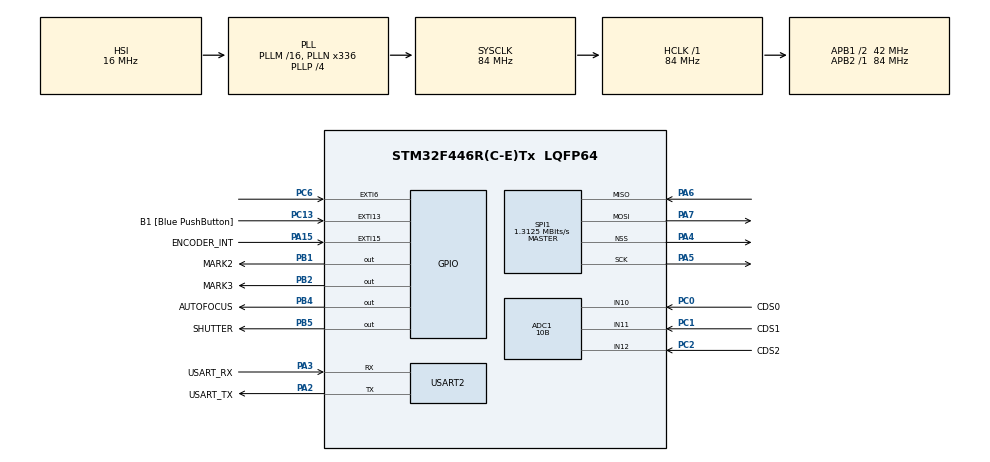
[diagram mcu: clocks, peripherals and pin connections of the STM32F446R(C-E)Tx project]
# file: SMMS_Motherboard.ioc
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ADC1.Channel-0\#ChannelRegularConversion=ADC_CHANNEL_10
ADC1.Channel-1\#ChannelRegularConversion=ADC_CHANNEL_11
ADC1.Channel-2\#ChannelRegularConversion=ADC_CHANNEL_12
ADC1.ContinuousConvMode=DISABLE
ADC1.EnableAnalogWatchDog=false
ADC1.NbrOfConversion=3
ADC1.NbrOfConversionFlag=1
ADC1.Rank-0\#ChannelRegularConversion=1
ADC1.Rank-1\#ChannelRegularConversion=2
ADC1.Rank-2\#ChannelRegularConversion=3
ADC1.Resolution=ADC_RESOLUTION_10B
ADC1.SamplingTime-0\#ChannelRegularConversion=ADC_SAMPLETIME_3CYCLES
ADC1.SamplingTime-1\#ChannelRegularConversion=ADC_SAMPLETIME_3CYCLES
ADC1.SamplingTime-2\#ChannelRegularConversion=ADC_SAMPLETIME_3CYCLES
ADC1.master=1
Dma.ADC1.0.Direction=DMA_PERIPH_TO_MEMORY
Dma.ADC1.0.FIFOMode=DMA_FIFOMODE_DISABLE
Dma.ADC1.0.Instance=DMA2_Stream0
Dma.ADC1.0.MemDataAlignment=DMA_MDATAALIGN_WORD
Dma.ADC1.0.MemInc=DMA_MINC_ENABLE
Dma.ADC1.0.Mode=DMA_CIRCULAR
Dma.ADC1.0.PeriphDataAlignment=DMA_PDATAALIGN_WORD
Dma.ADC1.0.PeriphInc=DMA_PINC_DISABLE
Dma.ADC1.0.Priority=DMA_PRIORITY_LOW
Dma.Request0=ADC1
Dma.Request1=SPI1_RX
Dma.Request2=SPI1_TX
Dma.SPI1_RX.1.Direction=DMA_PERIPH_TO_MEMORY
Dma.SPI1_RX.1.FIFOMode=DMA_FIFOMODE_DISABLE
Dma.SPI1_RX.1.Instance=DMA2_Stream2
Dma.SPI1_RX.1.MemDataAlignment=DMA_MDATAALIGN_BYTE
Dma.SPI1_RX.1.MemInc=DMA_MINC_ENABLE
Dma.SPI1_RX.1.Mode=DMA_NORMAL
Dma.SPI1_RX.1.PeriphDataAlignment=DMA_PDATAALIGN_BYTE
Dma.SPI1_RX.1.PeriphInc=DMA_PINC_DISABLE
Dma.SPI1_RX.1.Priority=DMA_PRIORITY_LOW
Dma.SPI1_TX.2.Direction=DMA_MEMORY_TO_PERIPH
Dma.SPI1_TX.2.FIFOMode=DMA_FIFOMODE_DISABLE
Dma.SPI1_TX.2.Instance=DMA2_Stream3
Dma.SPI1_TX.2.MemDataAlignment=DMA_MDATAALIGN_BYTE
Dma.SPI1_TX.2.MemInc=DMA_MINC_ENABLE
Dma.SPI1_TX.2.Mode=DMA_NORMAL
Dma.SPI1_TX.2.PeriphDataAlignment=DMA_PDATAALIGN_BYTE
Dma.SPI1_TX.2.PeriphInc=DMA_PINC_DISABLE
Dma.SPI1_TX.2.Priority=DMA_PRIORITY_LOW
Mcu.Family=STM32F4
Mcu.Name=STM32F446R(C-E)Tx
Mcu.Package=LQFP64
NVIC.ADC_IRQn=true\:0\:0\:false\:false\:true\:true\:true
NVIC.DMA2_Stream0_IRQn=true\:0\:0\:false\:false\:true\:false\:true
NVIC.DMA2_Stream2_IRQn=true\:0\:0\:false\:false\:true\:false\:true
NVIC.DMA2_Stream3_IRQn=true\:0\:0\:false\:false\:true\:false\:true
NVIC.EXTI15_10_IRQn=true\:0\:0\:false\:true\:true\:2\:true\:true
NVIC.EXTI9_5_IRQn=true\:0\:0\:false\:false\:true\:true\:true
NVIC.PriorityGroup=NVIC_PRIORITYGROUP_0
NVIC.SPI1_IRQn=true\:0\:0\:false\:false\:true\:true\:true
NVIC.USART2_IRQn=true\:0\:0\:false\:true\:true\:1\:true\:true
PA13.GPIO_Label=TMS
PA13.Mode=Trace_Asynchronous_SW
PA13.Signal=SYS_JTMS-SWDIO
PA14.GPIO_Label=TCK
PA14.Mode=Trace_Asynchronous_SW
PA14.Signal=SYS_JTCK-SWCLK
PA15.GPIO_Label=ENCODER_INT
PA15.GPIO_ModeDefaultEXTI=GPIO_MODE_IT_RISING
PA15.GPIO_PuPd=GPIO_NOPULL
PA15.Signal=GPXTI15
PA2.GPIO_Label=USART_TX
PA2.Mode=Asynchronous
PA2.Signal=USART2_TX
PA3.GPIO_Label=USART_RX
PA3.Mode=Asynchronous
PA3.Signal=USART2_RX
PA4.Mode=NSS_Signal_Hard_Output
PA4.Signal=SPI1_NSS
PA5.Mode=Full_Duplex_Master
PA5.Signal=SPI1_SCK
PA6.Mode=Full_Duplex_Master
PA6.Signal=SPI1_MISO
PA7.Mode=Full_Duplex_Master
PA7.Signal=SPI1_MOSI
PB1.GPIO_Label=MARK2
PB1.GPIO_Speed=GPIO_SPEED_FREQ_VERY_HIGH
PB1.PinState=GPIO_PIN_RESET
PB1.Signal=GPIO_Output
PB2.GPIO_Label=MARK3
PB2.GPIO_Speed=GPIO_SPEED_FREQ_VERY_HIGH
PB2.Signal=GPIO_Output
PB3.GPIO_Label=SWO
PB3.Mode=Trace_Asynchronous_SW
PB3.Signal=SYS_JTDO-SWO
PB4.GPIO_Label=AUTOFOCUS
PB4.Signal=GPIO_Output
PB5.GPIO_Label=SHUTTER
PB5.Signal=GPIO_Output
PC0.GPIO_Label=CDS0
PC0.Signal=ADCx_IN10
PC1.GPIO_Label=CDS1
PC1.Signal=ADCx_IN11
PC13.GPIO_Label=B1 [Blue PushButton]
PC13.GPIO_ModeDefaultEXTI=GPIO_MODE_IT_FALLING
PC13.Signal=GPXTI13
PC14-OSC32_IN.Mode=LSE-External-Oscillator
PC14-OSC32_IN.Signal=RCC_OSC32_IN
PC15-OSC32_OUT.Mode=LSE-External-Oscillator
PC15-OSC32_OUT.Signal=RCC_OSC32_OUT
PC2.GPIO_Label=CDS2
PC2.Signal=ADCx_IN12
PC6.GPIO_ModeDefaultEXTI=GPIO_MODE_IT_FALLING
PC6.GPIO_PuPd=GPIO_PULLUP
PC6.Signal=GPXTI6
PH0-OSC_IN.Mode=HSE-External-Oscillator
PH0-OSC_IN.Signal=RCC_OSC_IN
PH1-OSC_OUT.Mode=HSE-External-Oscillator
PH1-OSC_OUT.Signal=RCC_OSC_OUT
ProjectManager.HeapSize=0x200
ProjectManager.StackSize=0x400
ProjectManager.TargetToolchain=STM32CubeIDE
RCC.48MHZClocksFreq_Value=84000000
RCC.AHBFreq_Value=84000000
RCC.APB1CLKDivider=RCC_HCLK_DIV2
RCC.APB1Freq_Value=42000000
RCC.APB1TimFreq_Value=84000000
RCC.APB2Freq_Value=84000000
RCC.APB2TimFreq_Value=84000000
RCC.CortexFreq_Value=84000000
RCC.FLatency-AdvancedSettings=FLASH_LATENCY_2
RCC.HCLKFreq_Value=84000000
RCC.HSE_VALUE=8000000
RCC.HSI_VALUE=16000000
RCC.PLLN=336
RCC.PLLP=RCC_PLLP_DIV4
RCC.SYSCLKFreq_VALUE=84000000
RCC.SYSCLKSource=RCC_SYSCLKSOURCE_PLLCLK
RCC.USBFreq_Value=168000000
RCC.VCOOutputFreq_Value=336000000
SH.ADCx_IN10.0=ADC1_IN10,IN10
SH.ADCx_IN11.0=ADC1_IN11,IN11
SH.ADCx_IN12.0=ADC1_IN12,IN12
SPI1.BaudRatePrescaler=SPI_BAUDRATEPRESCALER_64
SPI1.CalculateBaudRate=1.3125 MBits/s
SPI1.Direction=SPI_DIRECTION_2LINES
SPI1.Mode=SPI_MODE_MASTER
SPI1.VirtualNSS=VM_NSSHARD
SPI1.VirtualType=VM_MASTER
USART2.VirtualMode=VM_ASYNC
VP_TIM1_VS_ClockSourceINT.Mode=Internal
board=NUCLEO-F446RE

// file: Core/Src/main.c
/* USER CODE BEGIN Header */
/**
 ******************************************************************************
 * @file           : main.c
 * @brief          : Main program body
 ******************************************************************************
 * @attention
 *
 * <h2><center>&copy; Copyright (c) 2020 STMicroelectronics.
 * All rights reserved.</center></h2>
 *
 * This software component is licensed by ST under BSD 3-Clause license,
 * the "License"; You may not use this file except in compliance with the
 * License. You may obtain a copy of the License at:
 *                        opensource.org/licenses/BSD-3-Clause
 *
 ******************************************************************************
 */
/* USER CODE END Header */
#include "main.h"

/* USER CODE BEGIN Includes */
#include <stdio.h>
#include <stdbool.h>
#include <string.h>
#include <stdlib.h>
/* USER CODE END Includes */

/* USER CODE BEGIN PTD */
typedef struct _paramType {
	float wheelRadius; // 1
	uint32_t encoderPulseCount; // 2
	float targetDistance; // 3
} __attribute__((aligned(1), packed)) WheelParam;
/* USER CODE END PTD */

/* USER CODE BEGIN PD */
#define TARGET_PULSE_NUMBER           1

#define DIVISOR                       1
/* USER CODE END PD */

ADC_HandleTypeDef hadc1;
DMA_HandleTypeDef hdma_adc1;

SPI_HandleTypeDef hspi1;
DMA_HandleTypeDef hdma_spi1_rx;
DMA_HandleTypeDef hdma_spi1_tx;

TIM_HandleTypeDef htim1;

UART_HandleTypeDef huart2;

/* USER CODE BEGIN PV */
#define MAX_BUFLEN 1024 // used
char buf[MAX_BUFLEN]; // used
int bufHead = 0, bufTail = 0; // used
uint8_t tmpbuf; // UART interrupt buf used

char mainBuf[20] = { 0 }; // data input buf used
char getdata; // get char used

uint8_t cameraflag = 0; // Camera used
uint8_t uartflag = 0; // Uart Action(Camera ADC) used
uint8_t confflag = 0; // Configuration Mode used

WheelParam wP;
int encoderTargetCount = -1;
int adcValue[3]; // ADC DATA SAVE
HAL_StatusTypeDef result;
/* USER CODE END PV */

void SystemClock_Config(void);
static void MX_GPIO_Init(void);
static void MX_DMA_Init(void);
static void MX_USART2_UART_Init(void);
static void MX_ADC1_Init(void);
static void MX_SPI1_Init(void);
static void MX_TIM1_Init(void);
static void MX_NVIC_Init(void);

/* USER CODE BEGIN 0 */

float diameter(float radius) {
	return (2 * 3.1415 * radius);
}

float rotationForShoot(float targetDistance, float wheelDiameter) {
	return (targetDistance / wheelDiameter);
}

int targetPulseCount(float rotationCount, int encoderPulseCnt) {
	return (int) ((((rotationCount * encoderPulseCnt) / TARGET_PULSE_NUMBER)
			/ DIVISOR));
}

void HAL_UART_RxCpltCallback(UART_HandleTypeDef *huart) {
	if (huart->Instance == huart2.Instance) {
		HAL_UART_Receive_IT(&huart2, &tmpbuf, 1);
		buf[bufTail] = huart->pRxBuffPtr[0];
		bufTail++;
		bufTail %= MAX_BUFLEN;
	}
} // END OF UART2
int _write(int file, unsigned char *p, int len) {
	HAL_UART_Transmit(&huart2, p, len, 100);
	return len;
}
/*
 int __io_putchar(int ch) {
 uint8_t *tr = (uint8_t*) &ch;
 HAL_UART_Transmit(&huart2, &tr[0], 1, -1);
 return ch;
 }
 */
int __io_getchar() {
	register int ret;

	__retry: if (bufHead != bufTail) {
		ret = buf[bufHead];
		if (ret == '\r' || ret == '\n') {
			ret = '\n';
		}
		bufHead++;
		bufHead %= MAX_BUFLEN;
	} else {
		goto __retry;
		//return -1;
	}
	return ret;
}

void HAL_GPIO_EXTI_Callback(uint16_t GPIO_Pin) // GPIO INTERRUPT
{
	if (GPIO_Pin == GPIO_PIN_6) //
	{
		HAL_GPIO_WritePin(MARK2_GPIO_Port, MARK2_Pin, SET);
	} else if (GPIO_Pin == ENCODER_INT_Pin) // ENCODER INTERRUPT
	{
		HAL_ADC_Start_DMA(&hadc1, adcValue, 3);
		for (int i = 0; i < 3; i++) { // ADC data save
			HAL_DMA_PollForTransfer(&hdma_adc1, HAL_DMA_FULL_TRANSFER, 100); // ADC DATA GET 3
		}
		HAL_ADC_Stop_DMA(&hadc1);
		printf("light value : ADC = %04d   %04d   %04d\r\n", adcValue[0],
				adcValue[1], adcValue[2]);
	}
}
/* USER CODE END 0 */

int main(void) {

	/* MCU Configuration--------------------------------------------------------*/

	/* Reset of all peripherals, Initializes the Flash interface and the Systick. */
	HAL_Init();

	/* Configure the system clock */
	SystemClock_Config();

	/* Initialize all configured peripherals */
	MX_GPIO_Init();
	MX_DMA_Init();
	MX_USART2_UART_Init();
	MX_ADC1_Init();
	MX_SPI1_Init();
	MX_TIM1_Init();

	/* Initialize interrupts */
	MX_NVIC_Init();
	/* USER CODE BEGIN 2 */
	HAL_UART_Receive_IT(&huart2, &tmpbuf, 1);
	printf(
			"Hello Commander! Activate Camera : s   Car Configuration : c\r\n\r\n");
	encoderTargetCount = targetPulseCount(
			rotationForShoot(wP.targetDistance, diameter(wP.wheelRadius)),
			wP.encoderPulseCount);

	/* USER CODE END 2 */

	/* Infinite loop */
	while (1) {

		/* USER CODE BEGIN 3 */
		HAL_UART_Receive_IT(&huart2, &tmpbuf, 1);
		getdata = getchar();

		if ((getdata == 's' || getdata == 'S') && confflag == 0) { // UART INPUT 'S'
			printf("Camera activated\r\n");
			HAL_GPIO_WritePin(AUTOFOCUS_GPIO_Port, AUTOFOCUS_Pin, SET);
			HAL_GPIO_WritePin(SHUTTER_GPIO_Port, SHUTTER_Pin, SET);
			HAL_GPIO_WritePin(MARK2_GPIO_Port, MARK2_Pin, RESET);
			cameraflag = 1;
			uartflag = 1;
			if (cameraflag == 1) { // Camera Action
				HAL_Delay(10);
				HAL_GPIO_WritePin(AUTOFOCUS_GPIO_Port, AUTOFOCUS_Pin, RESET);
				HAL_GPIO_WritePin(SHUTTER_GPIO_Port, SHUTTER_Pin, RESET);
				cameraflag = 0;
			}
			if (uartflag == 1) {
				HAL_ADC_Start_DMA(&hadc1, adcValue, 3);
				for (int i = 0; i < 3; i++) { // ADC data save
					HAL_DMA_PollForTransfer(&hdma_adc1, HAL_DMA_FULL_TRANSFER,
							100); // ADC DATA GET 3
				}
				HAL_ADC_Stop_DMA(&hadc1);
				printf("light value : ADC = %04d   %04d   %04d\r\n",
						adcValue[0], adcValue[1], adcValue[2]);
				uartflag = 0;
			}
		}
		if ((getdata == 'c' || getdata == 'C') && confflag == 0) {
			printf("Car configuration activated. Plz input data\r\n");
			printf(
					"R.Radius\r\nE.Encoder pulse count\r\nT.Target Distance\r\nF.Forwarding Data\r\nV.View\r\nx.EXIT\r\n");
			confflag = 1;
		}
		// Command Mode Index
		if (confflag == 1) {
			switch (getdata) { // UART INPUT 'C' // Configuration Mode
			case 'r': // Car radius
			case 'R':
				printf("\r\nRadius data input\r\n");
				gets(mainBuf); // Read Data
				printf("Input Data : %s / ArrSize : %d\r\n", mainBuf,
						sizeof(wP)); // Print Data
				wP.wheelRadius = atof(mainBuf);
				encoderTargetCount = targetPulseCount(
						rotationForShoot(wP.targetDistance,
								diameter(wP.wheelRadius)),
						wP.encoderPulseCount);
				break;
			case 'e': // Encoder pluse
			case 'E':
				printf("\r\nEncoder pulse count input\r\n");
				gets(mainBuf); // Read Data
				printf("Input Data : %s / ArrSize : %d\r\n", mainBuf,
						sizeof(wP)); // Print Data
				wP.encoderPulseCount = atoi(mainBuf);
				if (wP.encoderPulseCount == 0) {
					break;
				}
				encoderTargetCount = targetPulseCount(
						rotationForShoot(wP.targetDistance,
								diameter(wP.wheelRadius)),
						wP.encoderPulseCount);
				break;
			case 't': // Target distance
			case 'T':
				printf("\r\nTarget Distance input\r\n");
				gets(mainBuf); // Read Data
				printf("Input Data : %s / ArrSize : %d\r\n", mainBuf,
						sizeof(wP)); // Print Data
				wP.targetDistance = atof(mainBuf);
				encoderTargetCount = targetPulseCount(
						rotationForShoot(wP.targetDistance,
								diameter(wP.wheelRadius)),
						wP.encoderPulseCount);
				break;
			case 'f': // Data Save
			case 'F':
				printf("\r\nForwarding data\r\n");
				HAL_SPI_Transmit(&hspi1, (uint8_t*) &wP, sizeof(wP), -1);
				printf("Activate Camera : s   Car Configuration : c\r\n\r\n");
				confflag = 0;
				break;
			case 'v': // Data View
			case 'V':
				printf(
						"\r\nEncoderPulseCnt = %lu\r\nWheel Radius = %0.5f\r\nTrigger Distance = %0.2f\r\nTarget pulse count = %d\r\n",
						wP.encoderPulseCount, wP.wheelRadius, wP.targetDistance,
						encoderTargetCount);
				break;
			case 'x': // EXIT
			case 'X':
				printf("\r\nINPUT MODE CLOSE\r\n");
				printf("Activate Camera : s   Car Configuration : c\r\n\r\n");
				confflag = 0;
				break;
			} // End of Switch Case
		} // End of If
	} // End of While
	/* USER CODE END 3 */
}

void SystemClock_Config(void) {
	RCC_OscInitTypeDef RCC_OscInitStruct = { 0 };
	RCC_ClkInitTypeDef RCC_ClkInitStruct = { 0 };

	/** Configure the main internal regulator output voltage
	 */
	__HAL_RCC_PWR_CLK_ENABLE();
	__HAL_PWR_VOLTAGESCALING_CONFIG(PWR_REGULATOR_VOLTAGE_SCALE3);
	/** Initializes the RCC Oscillators according to the specified parameters
	 * in the RCC_OscInitTypeDef structure.
	 */
	RCC_OscInitStruct.OscillatorType = RCC_OSCILLATORTYPE_HSI;
	RCC_OscInitStruct.HSIState = RCC_HSI_ON;
	RCC_OscInitStruct.HSICalibrationValue = RCC_HSICALIBRATION_DEFAULT;
	RCC_OscInitStruct.PLL.PLLState = RCC_PLL_ON;
	RCC_OscInitStruct.PLL.PLLSource = RCC_PLLSOURCE_HSI;
	RCC_OscInitStruct.PLL.PLLM = 16;
	RCC_OscInitStruct.PLL.PLLN = 336;
	RCC_OscInitStruct.PLL.PLLP = RCC_PLLP_DIV4;
	RCC_OscInitStruct.PLL.PLLQ = 2;
	RCC_OscInitStruct.PLL.PLLR = 2;
	if (HAL_RCC_OscConfig(&RCC_OscInitStruct) != HAL_OK) {
		Error_Handler();
	}
	/** Initializes the CPU, AHB and APB buses clocks
	 */
	RCC_ClkInitStruct.ClockType = RCC_CLOCKTYPE_HCLK | RCC_CLOCKTYPE_SYSCLK
			| RCC_CLOCKTYPE_PCLK1 | RCC_CLOCKTYPE_PCLK2;
	RCC_ClkInitStruct.SYSCLKSource = RCC_SYSCLKSOURCE_PLLCLK;
	RCC_ClkInitStruct.AHBCLKDivider = RCC_SYSCLK_DIV1;
	RCC_ClkInitStruct.APB1CLKDivider = RCC_HCLK_DIV2;
	RCC_ClkInitStruct.APB2CLKDivider = RCC_HCLK_DIV1;

	if (HAL_RCC_ClockConfig(&RCC_ClkInitStruct, FLASH_LATENCY_2) != HAL_OK) {
		Error_Handler();
	}
}

/**
 * @brief NVIC Configuration.
 * @retval None
 */
static void MX_NVIC_Init(void) {
	/* USART2_IRQn interrupt configuration */
	HAL_NVIC_SetPriority(USART2_IRQn, 0, 0);
	HAL_NVIC_EnableIRQ(USART2_IRQn);
	/* EXTI15_10_IRQn interrupt configuration */
	HAL_NVIC_SetPriority(EXTI15_10_IRQn, 0, 0);
	HAL_NVIC_EnableIRQ(EXTI15_10_IRQn);
}

static void MX_ADC1_Init(void) {

	ADC_ChannelConfTypeDef sConfig = { 0 };

	/** Configure the global features of the ADC (Clock, Resolution, Data Alignment and number of conversion)
	 */
	hadc1.Instance = ADC1;
	hadc1.Init.ClockPrescaler = ADC_CLOCK_SYNC_PCLK_DIV4;
	hadc1.Init.Resolution = ADC_RESOLUTION_10B;
	hadc1.Init.ScanConvMode = ENABLE;
	hadc1.Init.ContinuousConvMode = DISABLE;
	hadc1.Init.DiscontinuousConvMode = DISABLE;
	hadc1.Init.ExternalTrigConvEdge = ADC_EXTERNALTRIGCONVEDGE_NONE;
	hadc1.Init.ExternalTrigConv = ADC_SOFTWARE_START;
	hadc1.Init.DataAlign = ADC_DATAALIGN_RIGHT;
	hadc1.Init.NbrOfConversion = 3;
	hadc1.Init.DMAContinuousRequests = DISABLE;
	hadc1.Init.EOCSelection = ADC_EOC_SINGLE_CONV;
	if (HAL_ADC_Init(&hadc1) != HAL_OK) {
		Error_Handler();
	}
	/** Configure for the selected ADC regular channel its corresponding rank in the sequencer and its sample time.
	 */
	sConfig.Channel = ADC_CHANNEL_10;
	sConfig.Rank = 1;
	sConfig.SamplingTime = ADC_SAMPLETIME_3CYCLES;
	if (HAL_ADC_ConfigChannel(&hadc1, &sConfig) != HAL_OK) {
		Error_Handler();
	}
	/** Configure for the selected ADC regular channel its corresponding rank in the sequencer and its sample time.
	 */
	sConfig.Channel = ADC_CHANNEL_11;
	sConfig.Rank = 2;
	if (HAL_ADC_ConfigChannel(&hadc1, &sConfig) != HAL_OK) {
		Error_Handler();
	}
	/** Configure for the selected ADC regular channel its corresponding rank in the sequencer and its sample time.
	 */
	sConfig.Channel = ADC_CHANNEL_12;
	sConfig.Rank = 3;
	if (HAL_ADC_ConfigChannel(&hadc1, &sConfig) != HAL_OK) {
		Error_Handler();
	}

}

static void MX_SPI1_Init(void) {

	/* SPI1 parameter configuration*/
	hspi1.Instance = SPI1;
	hspi1.Init.Mode = SPI_MODE_MASTER;
	hspi1.Init.Direction = SPI_DIRECTION_2LINES;
	hspi1.Init.DataSize = SPI_DATASIZE_8BIT;
	hspi1.Init.CLKPolarity = SPI_POLARITY_LOW;
	hspi1.Init.CLKPhase = SPI_PHASE_1EDGE;
	hspi1.Init.NSS = SPI_NSS_HARD_OUTPUT;
	hspi1.Init.BaudRatePrescaler = SPI_BAUDRATEPRESCALER_64;
	hspi1.Init.FirstBit = SPI_FIRSTBIT_MSB;
	hspi1.Init.TIMode = SPI_TIMODE_DISABLE;
	hspi1.Init.CRCCalculation = SPI_CRCCALCULATION_DISABLE;
	hspi1.Init.CRCPolynomial = 10;
	if (HAL_SPI_Init(&hspi1) != HAL_OK) {
		Error_Handler();
	}

}

static void MX_TIM1_Init(void) {

	TIM_ClockConfigTypeDef sClockSourceConfig = { 0 };
	TIM_MasterConfigTypeDef sMasterConfig = { 0 };

	htim1.Instance = TIM1;
	htim1.Init.Prescaler = 0;
	htim1.Init.CounterMode = TIM_COUNTERMODE_UP;
	htim1.Init.Period = 65535;
	htim1.Init.ClockDivision = TIM_CLOCKDIVISION_DIV1;
	htim1.Init.RepetitionCounter = 0;
	htim1.Init.AutoReloadPreload = TIM_AUTORELOAD_PRELOAD_DISABLE;
	if (HAL_TIM_Base_Init(&htim1) != HAL_OK) {
		Error_Handler();
	}
	sClockSourceConfig.ClockSource = TIM_CLOCKSOURCE_INTERNAL;
	if (HAL_TIM_ConfigClockSource(&htim1, &sClockSourceConfig) != HAL_OK) {
		Error_Handler();
	}
	sMasterConfig.MasterOutputTrigger = TIM_TRGO_RESET;
	sMasterConfig.MasterSlaveMode = TIM_MASTERSLAVEMODE_DISABLE;
	if (HAL_TIMEx_MasterConfigSynchronization(&htim1, &sMasterConfig)
			!= HAL_OK) {
		Error_Handler();
	}

}

static void MX_USART2_UART_Init(void) {

	huart2.Instance = USART2;
	huart2.Init.BaudRate = 115200;
	huart2.Init.WordLength = UART_WORDLENGTH_8B;
	huart2.Init.StopBits = UART_STOPBITS_1;
	huart2.Init.Parity = UART_PARITY_NONE;
	huart2.Init.Mode = UART_MODE_TX_RX;
	huart2.Init.HwFlowCtl = UART_HWCONTROL_NONE;
	huart2.Init.OverSampling = UART_OVERSAMPLING_16;
	if (HAL_UART_Init(&huart2) != HAL_OK) {
		Error_Handler();
	}

}

static void MX_DMA_Init(void) {

	/* DMA controller clock enable */
	__HAL_RCC_DMA2_CLK_ENABLE();

	/* DMA interrupt init */
	/* DMA2_Stream0_IRQn interrupt configuration */
	HAL_NVIC_SetPriority(DMA2_Stream0_IRQn, 0, 0);
	HAL_NVIC_EnableIRQ(DMA2_Stream0_IRQn);
	/* DMA2_Stream2_IRQn interrupt configuration */
	HAL_NVIC_SetPriority(DMA2_Stream2_IRQn, 0, 0);
	HAL_NVIC_EnableIRQ(DMA2_Stream2_IRQn);
	/* DMA2_Stream3_IRQn interrupt configuration */
	HAL_NVIC_SetPriority(DMA2_Stream3_IRQn, 0, 0);
	HAL_NVIC_EnableIRQ(DMA2_Stream3_IRQn);

}

static void MX_GPIO_Init(void) {
	GPIO_InitTypeDef GPIO_InitStruct = { 0 };

	/* GPIO Ports Clock Enable */
	__HAL_RCC_GPIOC_CLK_ENABLE();
	__HAL_RCC_GPIOH_CLK_ENABLE();
	__HAL_RCC_GPIOA_CLK_ENABLE();
	__HAL_RCC_GPIOB_CLK_ENABLE();

	/*Configure GPIO pin Output Level */
	HAL_GPIO_WritePin(GPIOB,
			MARK2_Pin | MARK3_Pin | AUTOFOCUS_Pin | SHUTTER_Pin,
			GPIO_PIN_RESET);

	/*Configure GPIO pin : B1_Pin */
	GPIO_InitStruct.Pin = B1_Pin;
	GPIO_InitStruct.Mode = GPIO_MODE_IT_FALLING;
	GPIO_InitStruct.Pull = GPIO_NOPULL;
	HAL_GPIO_Init(B1_GPIO_Port, &GPIO_InitStruct);

	/*Configure GPIO pins : MARK2_Pin MARK3_Pin */
	GPIO_InitStruct.Pin = MARK2_Pin | MARK3_Pin;
	GPIO_InitStruct.Mode = GPIO_MODE_OUTPUT_PP;
	GPIO_InitStruct.Pull = GPIO_NOPULL;
	GPIO_InitStruct.Speed = GPIO_SPEED_FREQ_VERY_HIGH;
	HAL_GPIO_Init(GPIOB, &GPIO_InitStruct);

	/*Configure GPIO pin : PC6 */
	GPIO_InitStruct.Pin = GPIO_PIN_6;
	GPIO_InitStruct.Mode = GPIO_MODE_IT_FALLING;
	GPIO_InitStruct.Pull = GPIO_PULLUP;
	HAL_GPIO_Init(GPIOC, &GPIO_InitStruct);

	/*Configure GPIO pin : ENCODER_INT_Pin */
	GPIO_InitStruct.Pin = ENCODER_INT_Pin;
	GPIO_InitStruct.Mode = GPIO_MODE_IT_RISING;
	GPIO_InitStruct.Pull = GPIO_NOPULL;
	HAL_GPIO_Init(ENCODER_INT_GPIO_Port, &GPIO_InitStruct);

	/*Configure GPIO pins : AUTOFOCUS_Pin SHUTTER_Pin */
	GPIO_InitStruct.Pin = AUTOFOCUS_Pin | SHUTTER_Pin;
	GPIO_InitStruct.Mode = GPIO_MODE_OUTPUT_PP;
	GPIO_InitStruct.Pull = GPIO_NOPULL;
	GPIO_InitStruct.Speed = GPIO_SPEED_FREQ_LOW;
	HAL_GPIO_Init(GPIOB, &GPIO_InitStruct);

	/* EXTI interrupt init*/
	HAL_NVIC_SetPriority(EXTI9_5_IRQn, 0, 0);
	HAL_NVIC_EnableIRQ(EXTI9_5_IRQn);

}

void Error_Handler(void) {
}

/************************ (C) COPYRIGHT STMicroelectronics *****END OF FILE****/
